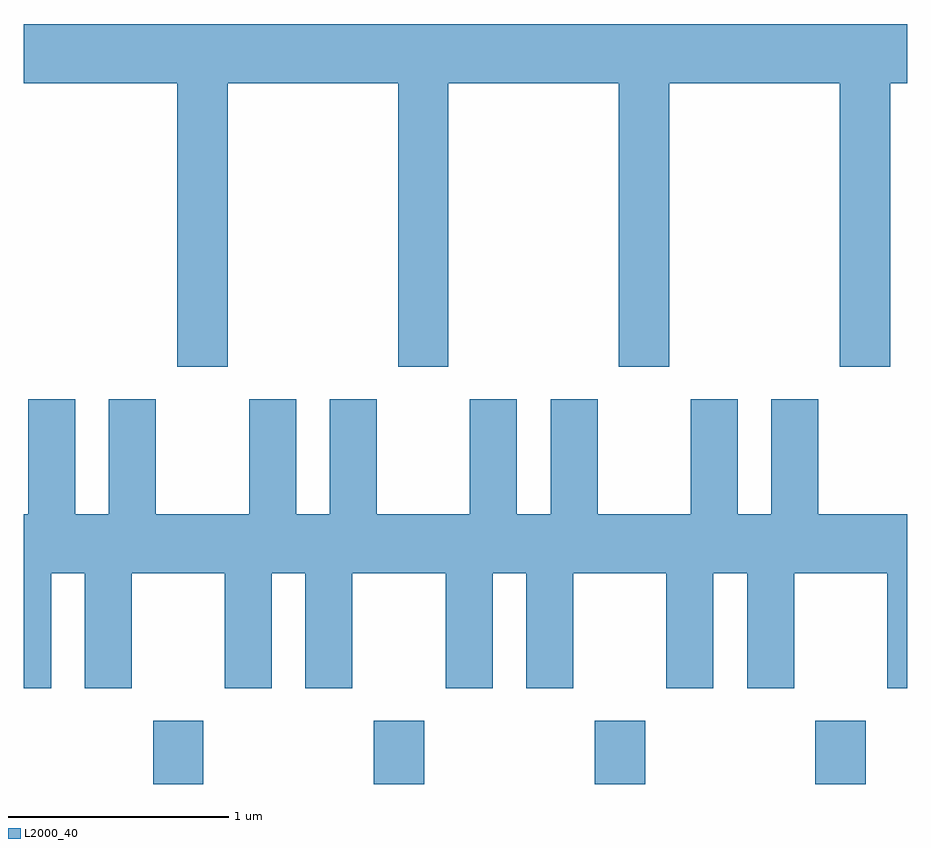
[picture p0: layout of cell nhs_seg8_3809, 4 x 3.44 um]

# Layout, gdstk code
import gdstk
lib = gdstk.Library(unit=1e-6, precision=1e-09)
def R(c, l, rs):  # rectangles x0, y0, x1, y1
    for r in rs: c.add(gdstk.rectangle(r[:2], r[2:], *l))
def A(c, l, x, y, w, h, nx, ny, dx, dy):  # array of equal rectangles
    R(c, l, [(x+i*dx, y+j*dy, x+i*dx+w, y+j*dy+h) for i in range(nx) for j in range(ny)])
def P(c, l, *ps):  # polygons
    for p in ps: c.add(gdstk.Polygon(p, *l))
L2000_40 = (2000, 40)

nhs_seg8_3809 = lib.new_cell('nhs_seg8_3809')
A(nhs_seg8_3809, L2000_40, 300.196, 1844.342, 0.228, 0.287, 4, 1, 1, 0)
P(nhs_seg8_3809, L2000_40, [(300.534,1847.516),(301.306,1847.516),(301.306,1846.231),(301.534,1846.231),(301.534,1847.516),(302.306,1847.516),(302.306,1846.231),(302.534,1846.231),(302.534,1847.516),(303.306,1847.516),(303.306,1846.231),(303.534,1846.231),(303.534,1847.516),(303.611,1847.516),(303.611,1847.784),(299.611,1847.784),(299.611,1847.516),(300.306,1847.516),(300.306,1846.231),(300.534,1846.231)],
  [(299.734,1845.296),(299.886,1845.296),(299.886,1844.776),(300.099,1844.776),(300.099,1845.296),(300.521,1845.296),(300.521,1844.776),(300.734,1844.776),(300.734,1845.296),(300.886,1845.296),(300.886,1844.776),(301.099,1844.776),(301.099,1845.296),(301.521,1845.296),(301.521,1844.776),(301.734,1844.776),(301.734,1845.296),(301.886,1845.296),(301.886,1844.776),(302.099,1844.776),(302.099,1845.296),(302.521,1845.296),(302.521,1844.776),(302.734,1844.776),(302.734,1845.296),(302.886,1845.296),(302.886,1844.776),(303.099,1844.776),(303.099,1845.296),(303.521,1845.296),(303.521,1844.776),(303.611,1844.776),(303.611,1845.564),(303.209,1845.564),(303.209,1846.084),(302.996,1846.084),(302.996,1845.564),(302.844,1845.564),(302.844,1846.084),(302.631,1846.084),(302.631,1845.564),(302.209,1845.564),(302.209,1846.084),(301.996,1846.084),(301.996,1845.564),(301.844,1845.564),(301.844,1846.084),(301.631,1846.084),(301.631,1845.564),(301.209,1845.564),(301.209,1846.084),(300.996,1846.084),(300.996,1845.564),(300.844,1845.564),(300.844,1846.084),(300.631,1846.084),(300.631,1845.564),(300.209,1845.564),(300.209,1846.084),(299.996,1846.084),(299.996,1845.564),(299.844,1845.564),(299.844,1846.084),(299.631,1846.084),(299.631,1845.564),(299.611,1845.564),(299.611,1844.776),(299.734,1844.776)])

lib.write_gds('nhs_seg8_3809.gds')
